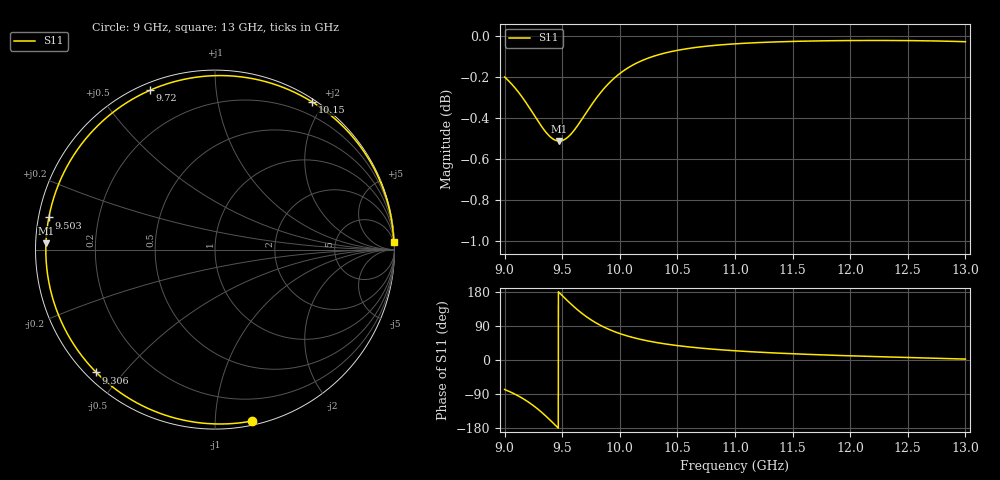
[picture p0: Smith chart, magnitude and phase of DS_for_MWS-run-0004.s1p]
! TOUCHSTONE file generated by CST DESIGN STUDIO
! Date and time: Tue Feb  4 14:15:58 2025
! Project name: C:\Work\MatlabApps\UnitCellOptimizationMatlab\CST\unitcell.cst
! Tree item: Tasks\Sweep1\SPara1\S-Parameters
! Header version: 2024
! Port assignment regex: !\s*Touchstone port\s*([0-9]+)\s*=\s*(CST MWS port|CST DES external port|CST DES block port)\s*(.+)\s* \(\"(.*)\"\)(\s*mode\s*([0-9]+))?.*
! Touchstone port assignment:
! Touchstone port 1 = CST DES external port 1 ("")
# GHz S MA R 50
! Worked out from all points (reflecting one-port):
!   4001 points, 9 GHz to 13 GHz, reference 50 ohm
!   lowest |S11| = -0.5 dB at 9.474 GHz (marker M1), VSWR 33.88, Z = 1.48 + j0.954 ohm
!   phase of S11 starts at -78 deg and turns -280 deg over the sweep
!   S11 on the Smith chart (normalised r, x): 9 GHz: 0.03, -1.24; 9.306 GHz: 0.03, -0.42; 9.503 GHz: 0.03, +0.10; 9.72 GHz: 0.03, +0.67; 10.15 GHz: 0.03, +1.85; 13 GHz: 4, +47
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9  0.9771 -77.9
9.077  0.9721 -88.2
9.174  0.9642 -104.6
9.242  0.9578 -118.6
9.306  0.9517 -134.0
9.35  0.948 -145.7
9.397  0.9448 -159.1
9.436  0.9432 -170.7
9.474  0.9427 177.8
9.5  0.9429 170.0
9.503  0.943 169.1
9.555  0.945 153.7
9.615  0.9493 137.1
9.667  0.9538 124.1
9.72  0.9588 112.1
9.775  0.9638 101.3
9.837  0.9688 90.7
9.917  0.9744 79.3
10  0.979 69.7
10.148  0.9848 56.7
10.307  0.9888 46.7
10.5  0.9918 38.0
10.722  0.9938 30.8
11  0.9954 24.3
11.5  0.9967 16.5
12  0.9972 11.0
12.5  0.9972 6.6
13  0.9965 2.4
